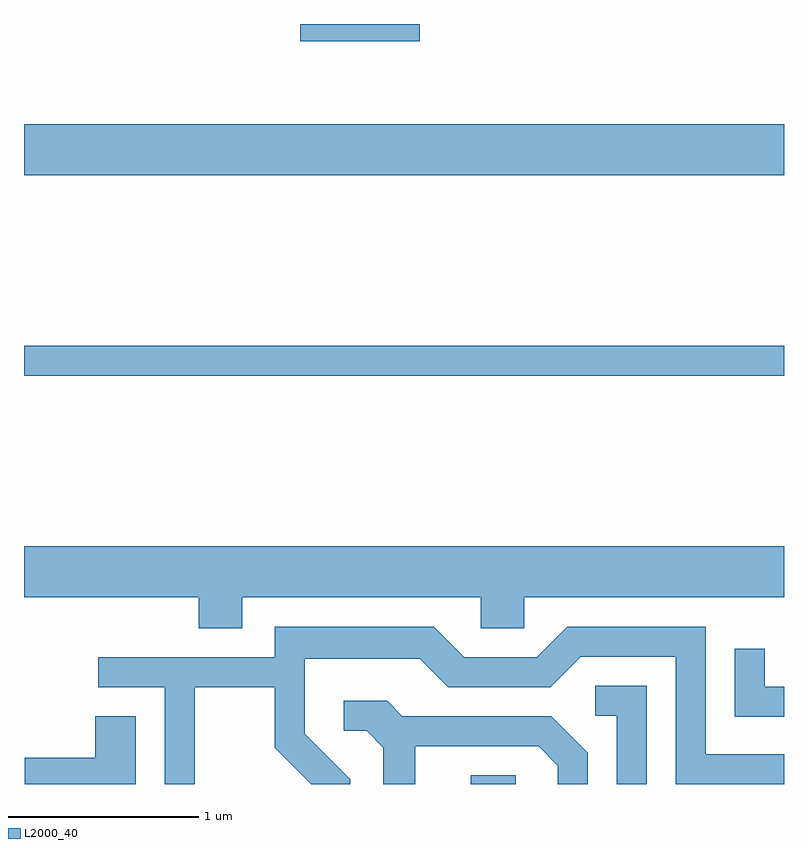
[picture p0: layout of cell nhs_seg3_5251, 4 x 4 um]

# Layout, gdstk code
import gdstk
lib = gdstk.Library(unit=1e-6, precision=1e-09)
def R(c, l, rs):  # rectangles x0, y0, x1, y1
    for r in rs: c.add(gdstk.rectangle(r[:2], r[2:], *l))
def P(c, l, *ps):  # polygons
    for p in ps: c.add(gdstk.Polygon(p, *l))
L2000_40 = (2000, 40)

nhs_seg3_5251 = lib.new_cell('nhs_seg3_5251')
R(nhs_seg3_5251, L2000_40, [(341.961,1153.892,342.199,1153.939), (339.611,1156.041,343.611,1156.199), (339.611,1157.096,343.611,1157.364)])
P(nhs_seg3_5251, L2000_40, [(341.694,1157.892),(339.611,1157.892),(339.611,1157.891),(341.066,1157.891),(341.066,1157.801),(341.694,1157.801)],
  [(340.759,1154.876),(342.016,1154.876),(342.016,1154.711),(342.244,1154.711),(342.244,1154.876),(343.611,1154.876),(343.611,1155.144),(339.611,1155.144),(339.611,1154.876),(340.531,1154.876),(340.531,1154.711),(340.759,1154.711)],
  [(340.509,1154.401),(340.931,1154.401),(340.931,1154.084),(341.123,1153.892),(341.329,1153.892),(341.329,1153.917),(341.089,1154.157),(341.089,1154.551),(341.694,1154.551),(341.844,1154.401),(342.382,1154.401),(342.542,1154.561),(343.041,1154.561),(343.041,1153.892),(343.611,1153.892),(343.611,1154.049),(343.199,1154.049),(343.199,1154.719),(342.469,1154.719),(342.309,1154.559),(341.927,1154.559),(341.767,1154.719),(340.931,1154.719),(340.931,1154.559),(340.003,1154.559),(340.003,1154.401),(340.351,1154.401),(340.351,1153.892),(340.509,1153.892)],
  [(343.611,1154.404),(343.509,1154.404),(343.509,1154.603),(343.351,1154.603),(343.351,1154.246),(343.611,1154.246)],
  [(342.889,1154.409),(342.618,1154.409),(342.618,1154.251),(342.731,1154.251),(342.731,1153.892),(342.889,1153.892)],
  [(341.669,1154.091),(342.319,1154.091),(342.421,1153.989),(342.421,1153.892),(342.579,1153.892),(342.579,1154.057),(342.387,1154.249),(341.602,1154.249),(341.522,1154.329),(341.293,1154.329),(341.293,1154.171),(341.414,1154.171),(341.501,1154.084),(341.501,1153.892),(341.669,1153.892)],
  [(340.199,1154.249),(339.986,1154.249),(339.986,1154.029),(339.616,1154.029),(339.616,1153.892),(340.199,1153.892)])

lib.write_gds('nhs_seg3_5251.gds')
